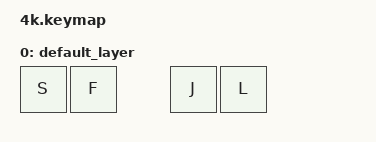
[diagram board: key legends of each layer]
#include <behaviors.dtsi>
#include <dt-bindings/zmk/keys.h>

/ {
    keymap {
        compatible = "zmk,keymap";

        default_layer {
            bindings = <
                &kp S &kp F &kp J &kp L
            >;
        };
    };
 };
